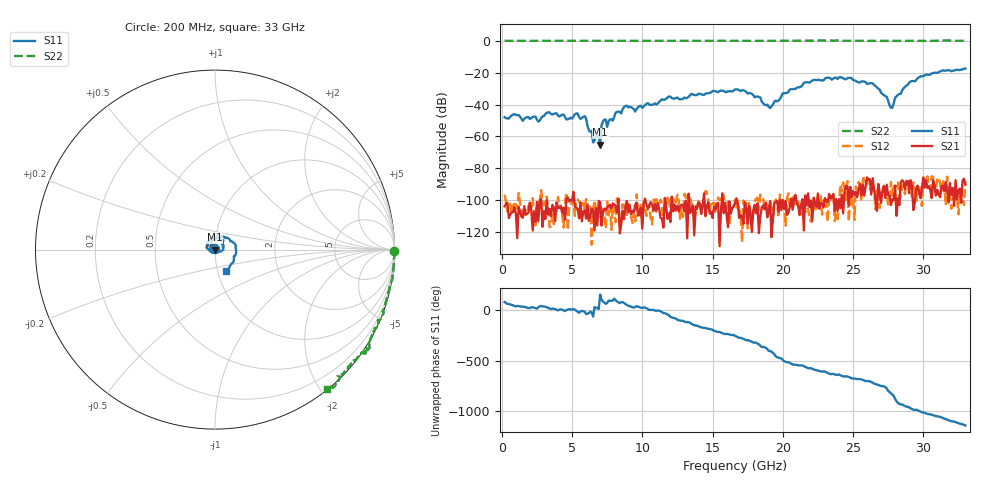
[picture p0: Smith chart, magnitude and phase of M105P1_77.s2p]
# GHZ S RI R 50
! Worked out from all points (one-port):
!   329 points, 200 MHz to 33 GHz, reference 50 ohm
!   lowest |S11| = -65.2 dB at 7 GHz (marker M1), VSWR 1.00, Z = 49.9 + j0.021 ohm
!   |S11| at or under -10 dB: start of sweep to end of sweep
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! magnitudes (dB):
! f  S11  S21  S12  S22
! 200 MHz  -47.9  -103.9  -96.5  0.0
! 5.7 GHz  -48.3  -113.2  -104.4  0.0
! 6 GHz  -48.7  -111.4  -99.4  0.0
! 6.2 GHz  -56.1  -112.9  -103.9  0.0
! 6.4 GHz  -56.5  -105.3  -127.9  0.0
! 6.5 GHz  -63.8  -106.0  -106.1  0.0
! 6.8 GHz  -59.6  -115.9  -104.2  0.0
! 7 GHz  -65.2  -101.2  -102.6  0.0
! 7.1 GHz  -53.0  -115.9  -106.0  0.0
! 7.3 GHz  -49.4  -105.3  -108.8  0.0
! 7.5 GHz  -54.0  -104.5  -100.9  0.0
! 8.8 GHz  -40.9  -104.6  -102.7  0.0
! 9.5 GHz  -44.4  -102.9  -113.2  0.0
! 11.2 GHz  -38.4  -105.3  -102.0  0.0
! 16.6 GHz  -30.6  -101.9  -99.7  0.0
! 19.1 GHz  -42.2  -100.6  -100.7  0.0
! 20 GHz  -33.0  -99.8  -99.1  0.0
! 22.1 GHz  -24.9  -113.2  -106.2  0.0
! 26.4 GHz  -26.7  -86.2  -92.3  -0.1
! 27.6 GHz  -40.6  -97.2  -100.7  -0.1
! 29.8 GHz  -22.4  -98.8  -91.5  -0.1
! 33 GHz  -17.5  -90.3  -88.3  0.0
